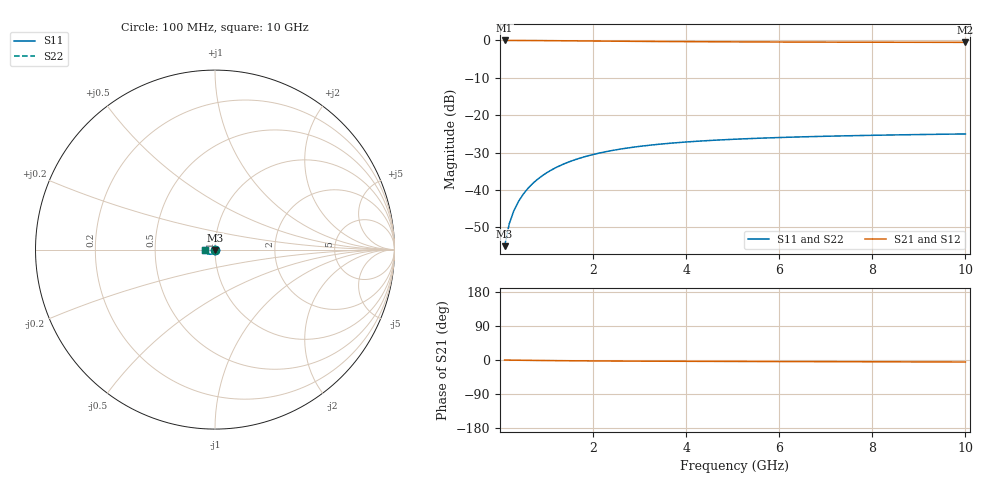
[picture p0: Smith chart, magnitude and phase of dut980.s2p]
! Touchstone file exported from HFSS 2024.1.0
!  File:  C:/UserFiles/LocalFiles/RDL_TSV_Batchsim/temp_TSV1_980_1779951998.aedt
!  Generated:  03:10:55 PM May 28, 2026
!  Design:  TSV1
!  Project:  temp_TSV1_980_1779951998
!  Setup:  Setup1
!  Solution:  Sweep
! Variables:
!  dtsv = 14.18um
!  hbump = 3um
!  htsv = 81.29um
!  lrdl = 252.1521522um
!  p = 40
!  p1 = 58.17um
!  t = 500um
!  trdl = 3um
!  wrdl = 24.89489489um
# GHz S MA R 50.000000
! Terminal data exported
! Port[1] = TSV22_T1
! Port[2] = TSV22_T2
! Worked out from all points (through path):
!   100 points, 100 MHz to 10 GHz, reference 50 ohm
!   highest |S21| = 0.00 dB at 100 MHz (marker M1); lowest = -0.5 dB at 10 GHz (marker M2)
!   lowest |S11| = -55.1 dB at 100 MHz (marker M3), VSWR 1.00, Z = 50 - j0.176 ohm
!   |S11| at or under -10 dB: start of sweep to end of sweep
!   |S22| runs from -55.1 to -25.0 dB; largest |S21 - S12| = 6e-15
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0.1  0.001764 -89.3  0.9999 -0.2  0.9999 -0.2  0.001764 -89.3
! Gamma 0 0 0 0
! Port Impedance 50 0 50 0
0.2  0.003526 -92.5  0.9997 -0.3  0.9997 -0.3  0.003526 -92.5
0.3  0.005283 -94.8  0.9993 -0.5  0.9993 -0.5  0.005283 -94.8
0.4  0.007028 -97.0  0.9989 -0.6  0.9989 -0.6  0.007028 -97.0
0.5  0.008752 -99.1  0.9984 -0.8  0.9984 -0.8  0.008752 -99.1
0.6  0.01045 -101.1  0.9977 -0.9  0.9977 -0.9  0.01045 -101.1
0.7  0.01212 -103.1  0.997 -1.0  0.997 -1.0  0.01212 -103.1
0.8  0.01374 -105.0  0.9962 -1.2  0.9962 -1.2  0.01374 -105.0
0.9  0.01533 -106.9  0.9953 -1.3  0.9953 -1.3  0.01533 -106.9
1.1  0.01838 -110.6  0.9933 -1.5  0.9933 -1.5  0.01838 -110.6
1.4  0.0226 -115.8  0.99 -1.9  0.99 -1.9  0.0226 -115.8
1.6  0.02517 -119.0  0.9877 -2.1  0.9877 -2.1  0.02517 -119.0
1.8  0.02754 -122.1  0.9853 -2.2  0.9853 -2.2  0.02754 -122.1
2.1  0.03075 -126.4  0.9818 -2.5  0.9818 -2.5  0.03075 -126.4
2.5  0.03442 -131.5  0.9773 -2.8  0.9773 -2.8  0.03442 -131.5
2.9  0.03751 -136.0  0.9732 -3.0  0.9732 -3.0  0.03751 -136.0
3.4  0.04069 -141.0  0.9685 -3.2  0.9685 -3.2  0.04069 -141.0
4.2  0.0446 -147.7  0.9624 -3.5  0.9624 -3.5  0.0446 -147.7
5.1  0.04781 -153.9  0.9571 -3.8  0.9571 -3.8  0.04781 -153.9
6.7  0.05164 -162.5  0.9505 -4.3  0.9505 -4.3  0.05164 -162.5
8.4  0.05428 -169.5  0.946 -4.8  0.946 -4.8  0.05428 -169.5
10  0.05605 -175.0  0.9432 -5.3  0.9432 -5.3  0.05605 -175.0
